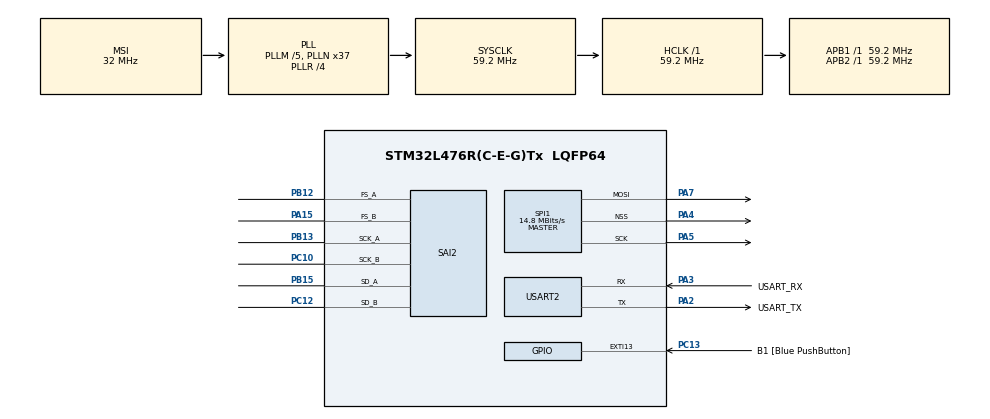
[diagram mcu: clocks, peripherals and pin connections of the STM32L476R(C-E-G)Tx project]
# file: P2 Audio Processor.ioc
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Dma.Request0=SAI2_A
Dma.Request1=SAI2_B
Dma.SAI2_A.0.Direction=DMA_PERIPH_TO_MEMORY
Dma.SAI2_A.0.Instance=DMA1_Channel6
Dma.SAI2_A.0.MemDataAlignment=DMA_MDATAALIGN_WORD
Dma.SAI2_A.0.MemInc=DMA_MINC_ENABLE
Dma.SAI2_A.0.Mode=DMA_CIRCULAR
Dma.SAI2_A.0.PeriphDataAlignment=DMA_PDATAALIGN_WORD
Dma.SAI2_A.0.PeriphInc=DMA_PINC_DISABLE
Dma.SAI2_A.0.Priority=DMA_PRIORITY_VERY_HIGH
Dma.SAI2_B.1.Direction=DMA_MEMORY_TO_PERIPH
Dma.SAI2_B.1.Instance=DMA1_Channel7
Dma.SAI2_B.1.MemDataAlignment=DMA_MDATAALIGN_WORD
Dma.SAI2_B.1.MemInc=DMA_MINC_ENABLE
Dma.SAI2_B.1.Mode=DMA_CIRCULAR
Dma.SAI2_B.1.PeriphDataAlignment=DMA_PDATAALIGN_WORD
Dma.SAI2_B.1.PeriphInc=DMA_PINC_DISABLE
Dma.SAI2_B.1.Priority=DMA_PRIORITY_VERY_HIGH
Mcu.Family=STM32L4
Mcu.Name=STM32L476R(C-E-G)Tx
Mcu.Package=LQFP64
NVIC.DMA1_Channel6_IRQn=true\:0\:0\:false\:false\:true\:false\:true\:true
NVIC.DMA1_Channel7_IRQn=true\:0\:0\:false\:false\:true\:false\:true\:true
NVIC.PriorityGroup=NVIC_PRIORITYGROUP_4
PA13\ (JTMS-SWDIO).GPIO_Label=TMS
PA13\ (JTMS-SWDIO).Mode=Serial_Wire
PA13\ (JTMS-SWDIO).Signal=SYS_JTMS-SWDIO
PA14\ (JTCK-SWCLK).GPIO_Label=TCK
PA14\ (JTCK-SWCLK).Mode=Serial_Wire
PA14\ (JTCK-SWCLK).Signal=SYS_JTCK-SWCLK
PA15\ (JTDI).Mode=SAI_B_Master
PA15\ (JTDI).Signal=SAI2_FS_B
PA2.GPIO_Label=USART_TX
PA2.GPIO_Mode=GPIO_MODE_AF_PP
PA2.GPIO_PuPd=GPIO_NOPULL
PA2.GPIO_Speed=GPIO_SPEED_FREQ_VERY_HIGH
PA2.Mode=Asynchronous
PA2.Signal=USART2_TX
PA3.GPIO_Label=USART_RX
PA3.GPIO_Mode=GPIO_MODE_AF_PP
PA3.GPIO_PuPd=GPIO_NOPULL
PA3.GPIO_Speed=GPIO_SPEED_FREQ_VERY_HIGH
PA3.Mode=Asynchronous
PA3.Signal=USART2_RX
PA4.Mode=NSS_Signal_Hard_Output
PA4.Signal=SPI1_NSS
PA5.Mode=TX_Only_Simplex_Unidirect_Master
PA5.Signal=SPI1_SCK
PA7.Mode=TX_Only_Simplex_Unidirect_Master
PA7.Signal=SPI1_MOSI
PB12.Mode=SAI_A_Master
PB12.Signal=SAI2_FS_A
PB13.Mode=SAI_A_Master
PB13.Signal=SAI2_SCK_A
PB15.Mode=SAI_A_Master
PB15.Signal=SAI2_SD_A
PB3\ (JTDO-TRACESWO).GPIO_Label=SWO
PB3\ (JTDO-TRACESWO).Signal=SYS_JTDO-SWO
PC10.Mode=SAI_B_Master
PC10.Signal=SAI2_SCK_B
PC12.Mode=SAI_B_Master
PC12.Signal=SAI2_SD_B
PC13.GPIO_Label=B1 [Blue PushButton]
PC13.GPIO_ModeDefaultEXTI=GPIO_MODE_IT_FALLING
PC13.GPIO_PuPd=GPIO_NOPULL
PC13.Signal=GPXTI13
PC14-OSC32_IN\ (PC14).Mode=LSE-External-Oscillator
PC14-OSC32_IN\ (PC14).Signal=RCC_OSC32_IN
PC15-OSC32_OUT\ (PC15).Mode=LSE-External-Oscillator
PC15-OSC32_OUT\ (PC15).Signal=RCC_OSC32_OUT
PH0-OSC_IN\ (PH0).Signal=RCC_OSC_IN
PH1-OSC_OUT\ (PH1).Signal=RCC_OSC_OUT
ProjectManager.HeapSize=0x200
ProjectManager.StackSize=0x400
ProjectManager.TargetToolchain=STM32CubeIDE
RCC.ADCFreq_Value=67200000
RCC.AHBFreq_Value=59200000
RCC.APB1Freq_Value=59200000
RCC.APB1TimFreq_Value=59200000
RCC.APB2Freq_Value=59200000
RCC.APB2TimFreq_Value=59200000
RCC.CortexFreq_Value=59200000
RCC.HCLKFreq_Value=59200000
RCC.HSE_VALUE=8000000
RCC.HSI_VALUE=16000000
RCC.MSIClockRange=RCC_MSIRANGE_10
RCC.MSI_VALUE=32000000
RCC.PLLM=5
RCC.PLLN=37
RCC.PLLP=RCC_PLLP_DIV17
RCC.PLLR=RCC_PLLR_DIV4
RCC.PLLSAI1N=21
RCC.PREFETCH_ENABLE=1
RCC.SAI2CLockSelection=RCC_SAI2CLKSOURCE_PLL
RCC.SYSCLKFreq_VALUE=59200000
RCC.SYSCLKSource=RCC_SYSCLKSOURCE_PLLCLK
RCC.USBFreq_Value=67200000
RCC.VCOOutputFreq_Value=236800000
SAI2.AudioFrequency-SAI_A_Master=SAI_AUDIO_FREQUENCY_48K
SAI2.AudioFrequency-SAI_B_Master=SAI_AUDIO_FREQUENCY_48K
SAI2.AudioMode-SAI_A_Master=SAI_MODEMASTER_RX
SAI2.BasicDataSize-SAI_A_Master=SAI_PROTOCOL_DATASIZE_32BIT
SAI2.BasicProtocol-SAI_A_Master=SAI_I2S_STANDARD
SAI2.BasicSlotNumber-SAI_A_Master=2
SAI2.CompandingMode-SAI_A_Master=SAI_NOCOMPANDING
SAI2.ErrorAudioFreq-SAI_A_Master=13.35 %
SAI2.ErrorAudioFreq-SAI_B_Master=13.35 %
SAI2.FIFOThreshold-SAI_A_Master=SAI_FIFOTHRESHOLD_EMPTY
SAI2.InitProtocol-SAI_A_Master=Enable
SAI2.InitProtocol-SAI_B_Master=Enable
SAI2.Instance-SAI_A_Master=SAI$Index_Block_A
SAI2.Instance-SAI_B_Master=SAI$Index_Block_B
SAI2.MClockEnable-SAI_A_Master=SAI_MASTERCLOCK_DISABLE
SAI2.MClockEnable-SAI_B_Master=SAI_MASTERCLOCK_DISABLE
SAI2.MonoStereoMode-SAI_A_Master=SAI_MONOMODE
SAI2.MonoStereoMode-SAI_B_Master=SAI_MONOMODE
SAI2.OutputDrive-SAI_A_Master=SAI_OUTPUTDRIVE_DISABLE
SAI2.RealAudioFreq-SAI_A_Master=54.411 KHz
SAI2.RealAudioFreq-SAI_B_Master=54.411 KHz
SAI2.VirtualMode-SAI_A_Master=VM_MASTER
SAI2.VirtualMode-SAI_B_Master=VM_MASTER
SAI2.VirtualProtocol-SAI_A_BASIC=VM_BASIC_PROTOCOL
SAI2.VirtualProtocol-SAI_B_BASIC=VM_BASIC_PROTOCOL
SPI1.BaudRatePrescaler=SPI_BAUDRATEPRESCALER_4
SPI1.CalculateBaudRate=14.8 MBits/s
SPI1.DataSize=SPI_DATASIZE_16BIT
SPI1.Direction=SPI_DIRECTION_2LINES
SPI1.Mode=SPI_MODE_MASTER
SPI1.VirtualNSS=VM_NSSHARD
SPI1.VirtualType=VM_MASTER
USART2.VirtualMode-Asynchronous=VM_ASYNC
VP_SAI2_VP_$IpInstance_SAIA_SAI_BASIC.Mode=SAI_A_BASIC
VP_SAI2_VP_$IpInstance_SAIB_SAI_BASIC.Mode=SAI_B_BASIC
board=NUCLEO-L476RG

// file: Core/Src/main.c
/* USER CODE BEGIN Header */
/**
  ******************************************************************************
  * @file           : main.c
  * @brief          : Main program body
  ******************************************************************************
  * @attention
  *
  * Copyright (c) 2023 STMicroelectronics.
  * All rights reserved.
  *
  * This software is licensed under terms that can be found in the LICENSE file
  * in the root directory of this software component.
  * If no LICENSE file comes with this software, it is provided AS-IS.
  *
  ******************************************************************************
  */
/* USER CODE END Header */
#include "main.h"

/* USER CODE BEGIN Includes */
#include <stdio.h>   // For snprintf and vsnprintf
#include <string.h>  // For strlen
#include <stdarg.h>  // For va_list, va_start, and va_end
/* USER CODE END Includes */

/* USER CODE BEGIN PD */
#define AUDIO_BUFFER_SIZE  1024  // Adjust the size as needed

uint32_t audioBuffer1[AUDIO_BUFFER_SIZE];
//uint32_t audioBuffer2[AUDIO_BUFFER_SIZE];
uint32_t *currentBuffer;
uint32_t *processingBuffer;

void ProcessAudioData(uint32_t* buffer, uint32_t size);
void TransmitDataOverUART(const char* data);
void DebugPrint(const char* format, ...);
void HAL_SAI_ErrorCallback(SAI_HandleTypeDef *hsai);
void PrintDMAandSAIState();
void DAC_write(uint16_t value_A);
void DAC_init(void);
/* USER CODE END PD */

SAI_HandleTypeDef hsai_BlockA2;
SAI_HandleTypeDef hsai_BlockB2;
DMA_HandleTypeDef hdma_sai2_a;
DMA_HandleTypeDef hdma_sai2_b;

SPI_HandleTypeDef hspi1;

UART_HandleTypeDef huart2;

void SystemClock_Config(void);
static void MX_GPIO_Init(void);
static void MX_DMA_Init(void);
static void MX_USART2_UART_Init(void);
static void MX_SAI2_Init(void);
static void MX_SPI1_Init(void);

/* USER CODE BEGIN 0 */

// Callback function for completed DMA transfer
void HAL_SAI_RxCpltCallback(SAI_HandleTypeDef *hsai)
{
    // Start receiving into the new currentBuffer
    HAL_SAI_Receive_DMA(&hsai_BlockA2, (uint8_t*)audioBuffer1, AUDIO_BUFFER_SIZE);

    // Signal or start processing data in processingBuffer
    ProcessAudioData(audioBuffer1, AUDIO_BUFFER_SIZE);
}

// Callback function for half completed DMA transfer
void HAL_SAI_RxHalfCpltCallback(SAI_HandleTypeDef *hsai)
{

}

void ProcessAudioData(uint32_t* buffer, uint32_t size) {
    for (uint32_t i = 0; i < size; ++i) {
       // Shift right to align 18-bit data within 32-bit word
        int32_t sample = buffer[i] >> 14;

        // If the data is signed (2's complement), perform sign extension for negative values
        if (sample & 0x20000) { // Check if the 18th bit (sign bit for 18-bit data) is set
            sample |= 0xFFFC0000; // Extend the sign to 32 bits
        }

        // Downsample to 12 bits while preserving the sign
        //uint16_t dacSample = (sample / 64) + 2048;
        //int16_t dacSample = sample >> 6;

        // Print the first few samples
        if (i < 10) {
            char uartBuffer[50];
            snprintf(uartBuffer, sizeof(uartBuffer), "Sample %lu: %ld\r\n", (unsigned long)i, sample);
            TransmitDataOverUART(uartBuffer);
        }

        // Further processing can be added here
        DAC_write(sample);
    }
}

void DebugPrint(const char* format, ...) {
    char debugBuffer[128];  // Adjust size as needed
    va_list args;
    va_start(args, format);
    vsnprintf(debugBuffer, sizeof(debugBuffer), format, args);
    va_end(args);

    TransmitDataOverUART(debugBuffer);
}

void TransmitDataOverUART(const char* data)
{
    HAL_UART_Transmit(&huart2, (uint8_t*)data, strlen(data), 1000);
}

void PrintBufferContents(uint32_t* buffer, uint32_t size) {
    DebugPrint("Buffer Contents: ");
    char temp[10]; // Temporary string for individual numbers
    for (uint16_t i = 0; i < size && i < 10; ++i) { // Print first 10 samples
        snprintf(temp, sizeof(temp), "%lu ", buffer[i]);
        TransmitDataOverUART(temp);
    }
    TransmitDataOverUART("\n");
}

void HAL_SAI_ErrorCallback(SAI_HandleTypeDef *hsai) {
    uint32_t saiError = HAL_SAI_GetError(hsai);
    DebugPrint("SAI Error: %lu\n", saiError);
}

void PrintDMAandSAIState() {
    HAL_DMA_StateTypeDef dmaState = HAL_DMA_GetState(&hdma_sai2_a);
    DebugPrint("DMA State: %d\n", dmaState);

    uint32_t dmaError = HAL_DMA_GetError(&hdma_sai2_a);
    DebugPrint("DMA Error: %lu\n", dmaError);

    HAL_SAI_StateTypeDef saiState = HAL_SAI_GetState(&hsai_BlockA2);
    DebugPrint("SAI State: %d\n", saiState);
}

void DAC_write(uint16_t value) {
    uint16_t spi_data = (value & 0x0FFF) | 0x3000;  // 12-bit value, OR 0x3000 sets the Gain and buffer in the DAC see page 18 of datasheet
    //HAL_SPI_Transmit_DMA(&hspi1, (uint8_t*)&spi_data, 1);
    HAL_SPI_Transmit(&hspi1, (uint8_t*)&spi_data, 1, HAL_MAX_DELAY);
}

// Callback for button B1 recording
void HAL_GPIO_EXTI_Callback(uint16_t GPIO_Pin){
    if(GPIO_Pin == B1_Pin)
    {
        // Start receiving into the new currentBuffer
        HAL_SAI_Receive_DMA(&hsai_BlockA2, (uint8_t*)audioBuffer1, AUDIO_BUFFER_SIZE);

        // Signal or start processing data in processingBuffer
        ProcessAudioData(audioBuffer1, AUDIO_BUFFER_SIZE);
    }
}

///HEEELLLLLOOOOO

/* USER CODE END 0 */

int main(void)
{

  /* MCU Configuration--------------------------------------------------------*/

  /* Reset of all peripherals, Initializes the Flash interface and the Systick. */
  HAL_Init();

  /* USER CODE BEGIN Init */
  void DAC_init();

  /* USER CODE END Init */

  /* Configure the system clock */
  SystemClock_Config();

  /* USER CODE BEGIN SysInit */
  // Start the timer

  /* USER CODE END SysInit */

  /* Initialize all configured peripherals */
  MX_GPIO_Init();
  MX_DMA_Init();
  MX_USART2_UART_Init();
  MX_SAI2_Init();
  MX_SPI1_Init();
  /* USER CODE BEGIN 2 */

  currentBuffer = audioBuffer1;
  //processingBuffer = audioBuffer2;

  //HAL_SAI_Receive_DMA(&hsai_BlockA2, (uint8_t*)audioBuffer1, AUDIO_BUFFER_SIZE);

  /* USER CODE END 2 */

  /* Infinite loop */
  while (1)
  {

  }
}

void SystemClock_Config(void)
{
  RCC_OscInitTypeDef RCC_OscInitStruct = {0};
  RCC_ClkInitTypeDef RCC_ClkInitStruct = {0};

  /** Configure the main internal regulator output voltage
  */
  if (HAL_PWREx_ControlVoltageScaling(PWR_REGULATOR_VOLTAGE_SCALE1) != HAL_OK)
  {
    Error_Handler();
  }

  /** Configure LSE Drive Capability
  */
  HAL_PWR_EnableBkUpAccess();
  __HAL_RCC_LSEDRIVE_CONFIG(RCC_LSEDRIVE_LOW);

  /** Initializes the RCC Oscillators according to the specified parameters
  * in the RCC_OscInitTypeDef structure.
  */
  RCC_OscInitStruct.OscillatorType = RCC_OSCILLATORTYPE_LSE|RCC_OSCILLATORTYPE_MSI;
  RCC_OscInitStruct.LSEState = RCC_LSE_ON;
  RCC_OscInitStruct.MSIState = RCC_MSI_ON;
  RCC_OscInitStruct.MSICalibrationValue = 0;
  RCC_OscInitStruct.MSIClockRange = RCC_MSIRANGE_10;
  RCC_OscInitStruct.PLL.PLLState = RCC_PLL_ON;
  RCC_OscInitStruct.PLL.PLLSource = RCC_PLLSOURCE_MSI;
  RCC_OscInitStruct.PLL.PLLM = 5;
  RCC_OscInitStruct.PLL.PLLN = 37;
  RCC_OscInitStruct.PLL.PLLP = RCC_PLLP_DIV17;
  RCC_OscInitStruct.PLL.PLLQ = RCC_PLLQ_DIV2;
  RCC_OscInitStruct.PLL.PLLR = RCC_PLLR_DIV4;
  if (HAL_RCC_OscConfig(&RCC_OscInitStruct) != HAL_OK)
  {
    Error_Handler();
  }

  /** Initializes the CPU, AHB and APB buses clocks
  */
  RCC_ClkInitStruct.ClockType = RCC_CLOCKTYPE_HCLK|RCC_CLOCKTYPE_SYSCLK
                              |RCC_CLOCKTYPE_PCLK1|RCC_CLOCKTYPE_PCLK2;
  RCC_ClkInitStruct.SYSCLKSource = RCC_SYSCLKSOURCE_PLLCLK;
  RCC_ClkInitStruct.AHBCLKDivider = RCC_SYSCLK_DIV1;
  RCC_ClkInitStruct.APB1CLKDivider = RCC_HCLK_DIV1;
  RCC_ClkInitStruct.APB2CLKDivider = RCC_HCLK_DIV1;

  if (HAL_RCC_ClockConfig(&RCC_ClkInitStruct, FLASH_LATENCY_3) != HAL_OK)
  {
    Error_Handler();
  }

  /** Enable MSI Auto calibration
  */
  HAL_RCCEx_EnableMSIPLLMode();
}

static void MX_SAI2_Init(void)
{

  hsai_BlockA2.Instance = SAI2_Block_A;
  hsai_BlockA2.Init.AudioMode = SAI_MODEMASTER_RX;
  hsai_BlockA2.Init.Synchro = SAI_ASYNCHRONOUS;
  hsai_BlockA2.Init.OutputDrive = SAI_OUTPUTDRIVE_DISABLE;
  hsai_BlockA2.Init.NoDivider = SAI_MASTERDIVIDER_ENABLE;
  hsai_BlockA2.Init.FIFOThreshold = SAI_FIFOTHRESHOLD_EMPTY;
  hsai_BlockA2.Init.AudioFrequency = SAI_AUDIO_FREQUENCY_48K;
  hsai_BlockA2.Init.SynchroExt = SAI_SYNCEXT_DISABLE;
  hsai_BlockA2.Init.MonoStereoMode = SAI_MONOMODE;
  hsai_BlockA2.Init.CompandingMode = SAI_NOCOMPANDING;
  if (HAL_SAI_InitProtocol(&hsai_BlockA2, SAI_I2S_STANDARD, SAI_PROTOCOL_DATASIZE_32BIT, 2) != HAL_OK)
  {
    Error_Handler();
  }
  hsai_BlockB2.Instance = SAI2_Block_B;
  hsai_BlockB2.Init.AudioMode = SAI_MODEMASTER_TX;
  hsai_BlockB2.Init.Synchro = SAI_ASYNCHRONOUS;
  hsai_BlockB2.Init.OutputDrive = SAI_OUTPUTDRIVE_DISABLE;
  hsai_BlockB2.Init.NoDivider = SAI_MASTERDIVIDER_ENABLE;
  hsai_BlockB2.Init.FIFOThreshold = SAI_FIFOTHRESHOLD_EMPTY;
  hsai_BlockB2.Init.AudioFrequency = SAI_AUDIO_FREQUENCY_48K;
  hsai_BlockB2.Init.SynchroExt = SAI_SYNCEXT_DISABLE;
  hsai_BlockB2.Init.MonoStereoMode = SAI_MONOMODE;
  hsai_BlockB2.Init.CompandingMode = SAI_NOCOMPANDING;
  hsai_BlockB2.Init.TriState = SAI_OUTPUT_NOTRELEASED;
  if (HAL_SAI_InitProtocol(&hsai_BlockB2, SAI_I2S_STANDARD, SAI_PROTOCOL_DATASIZE_16BIT, 2) != HAL_OK)
  {
    Error_Handler();
  }
  /* USER CODE BEGIN SAI2_Init 2 */

  // Configure the DMA handler for reception process
  hdma_sai2_a.Instance                 = DMA1_Channel6;
  hdma_sai2_a.Init.Direction           = DMA_PERIPH_TO_MEMORY;
  hdma_sai2_a.Init.PeriphInc           = DMA_PINC_DISABLE;
  hdma_sai2_a.Init.MemInc              = DMA_MINC_ENABLE;
  hdma_sai2_a.Init.PeriphDataAlignment = DMA_PDATAALIGN_WORD;
  hdma_sai2_a.Init.MemDataAlignment    = DMA_MDATAALIGN_WORD;
  hdma_sai2_a.Init.Mode                = DMA_CIRCULAR;
  hdma_sai2_a.Init.Priority            = DMA_PRIORITY_HIGH;

  HAL_DMA_Init(&hdma_sai2_a);

  // Associate the initialized DMA handle to the SAI handle
  __HAL_LINKDMA(&hsai_BlockA2, hdmarx, hdma_sai2_a);

  /* USER CODE END SAI2_Init 2 */

}

static void MX_SPI1_Init(void)
{

  /* SPI1 parameter configuration*/
  hspi1.Instance = SPI1;
  hspi1.Init.Mode = SPI_MODE_MASTER;
  hspi1.Init.Direction = SPI_DIRECTION_2LINES;
  hspi1.Init.DataSize = SPI_DATASIZE_16BIT;
  hspi1.Init.CLKPolarity = SPI_POLARITY_LOW;
  hspi1.Init.CLKPhase = SPI_PHASE_1EDGE;
  hspi1.Init.NSS = SPI_NSS_HARD_OUTPUT;
  hspi1.Init.BaudRatePrescaler = SPI_BAUDRATEPRESCALER_4;
  hspi1.Init.FirstBit = SPI_FIRSTBIT_MSB;
  hspi1.Init.TIMode = SPI_TIMODE_DISABLE;
  hspi1.Init.CRCCalculation = SPI_CRCCALCULATION_DISABLE;
  hspi1.Init.CRCPolynomial = 7;
  hspi1.Init.CRCLength = SPI_CRC_LENGTH_DATASIZE;
  hspi1.Init.NSSPMode = SPI_NSS_PULSE_ENABLE;
  if (HAL_SPI_Init(&hspi1) != HAL_OK)
  {
    Error_Handler();
  }

}

static void MX_USART2_UART_Init(void)
{

  huart2.Instance = USART2;
  huart2.Init.BaudRate = 115200;
  huart2.Init.WordLength = UART_WORDLENGTH_8B;
  huart2.Init.StopBits = UART_STOPBITS_1;
  huart2.Init.Parity = UART_PARITY_NONE;
  huart2.Init.Mode = UART_MODE_TX_RX;
  huart2.Init.HwFlowCtl = UART_HWCONTROL_NONE;
  huart2.Init.OverSampling = UART_OVERSAMPLING_16;
  huart2.Init.OneBitSampling = UART_ONE_BIT_SAMPLE_DISABLE;
  huart2.AdvancedInit.AdvFeatureInit = UART_ADVFEATURE_NO_INIT;
  if (HAL_UART_Init(&huart2) != HAL_OK)
  {
    Error_Handler();
  }

}

static void MX_DMA_Init(void)
{

  /* DMA controller clock enable */
  __HAL_RCC_DMA1_CLK_ENABLE();

  /* DMA interrupt init */
  /* DMA1_Channel6_IRQn interrupt configuration */
  HAL_NVIC_SetPriority(DMA1_Channel6_IRQn, 0, 0);
  HAL_NVIC_EnableIRQ(DMA1_Channel6_IRQn);
  /* DMA1_Channel7_IRQn interrupt configuration */
  HAL_NVIC_SetPriority(DMA1_Channel7_IRQn, 0, 0);
  HAL_NVIC_EnableIRQ(DMA1_Channel7_IRQn);

}

static void MX_GPIO_Init(void)
{
  GPIO_InitTypeDef GPIO_InitStruct = {0};

  /* GPIO Ports Clock Enable */
  __HAL_RCC_GPIOC_CLK_ENABLE();
  __HAL_RCC_GPIOH_CLK_ENABLE();
  __HAL_RCC_GPIOA_CLK_ENABLE();
  __HAL_RCC_GPIOB_CLK_ENABLE();

  /*Configure GPIO pin : B1_Pin */
  GPIO_InitStruct.Pin = B1_Pin;
  GPIO_InitStruct.Mode = GPIO_MODE_IT_FALLING;
  GPIO_InitStruct.Pull = GPIO_NOPULL;
  HAL_GPIO_Init(B1_GPIO_Port, &GPIO_InitStruct);

}

void Error_Handler(void)
{
  __disable_irq();
  while (1)
  {
  }
}
